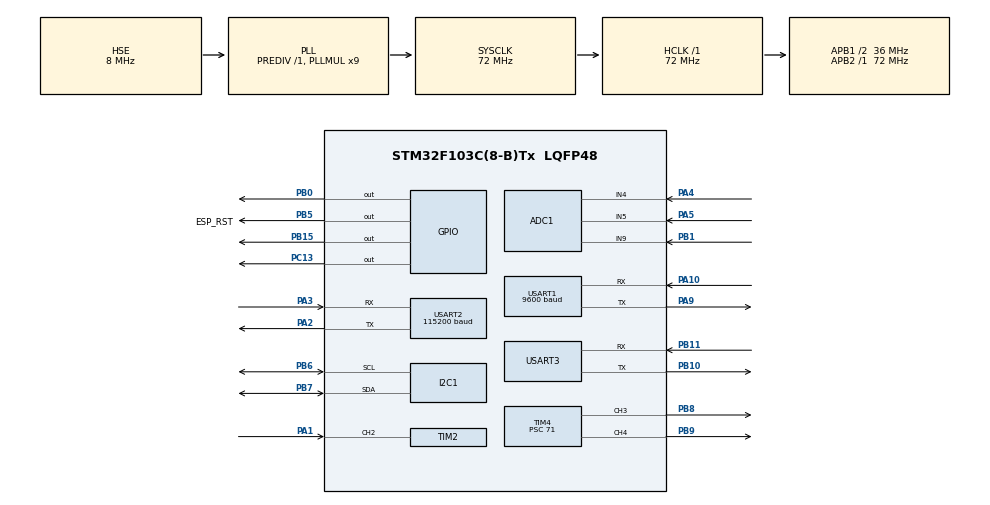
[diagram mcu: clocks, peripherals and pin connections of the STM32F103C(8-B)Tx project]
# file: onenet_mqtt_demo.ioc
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ADC1.Channel-0\#ChannelRegularConversion=ADC_CHANNEL_4
ADC1.Channel-1\#ChannelRegularConversion=ADC_CHANNEL_5
ADC1.Channel-2\#ChannelRegularConversion=ADC_CHANNEL_9
ADC1.ContinuousConvMode=ENABLE
ADC1.NbrOfConversion=3
ADC1.NbrOfConversionFlag=1
ADC1.Rank-0\#ChannelRegularConversion=1
ADC1.Rank-1\#ChannelRegularConversion=2
ADC1.Rank-2\#ChannelRegularConversion=3
ADC1.SamplingTime-0\#ChannelRegularConversion=ADC_SAMPLETIME_1CYCLE_5
ADC1.SamplingTime-1\#ChannelRegularConversion=ADC_SAMPLETIME_1CYCLE_5
ADC1.SamplingTime-2\#ChannelRegularConversion=ADC_SAMPLETIME_1CYCLE_5
ADC1.master=1
Dma.ADC1.0.Direction=DMA_PERIPH_TO_MEMORY
Dma.ADC1.0.Instance=DMA1_Channel1
Dma.ADC1.0.MemDataAlignment=DMA_MDATAALIGN_WORD
Dma.ADC1.0.MemInc=DMA_MINC_ENABLE
Dma.ADC1.0.Mode=DMA_CIRCULAR
Dma.ADC1.0.PeriphDataAlignment=DMA_PDATAALIGN_WORD
Dma.ADC1.0.PeriphInc=DMA_PINC_DISABLE
Dma.ADC1.0.Priority=DMA_PRIORITY_MEDIUM
Dma.Request0=ADC1
Dma.Request1=USART1_RX
Dma.Request2=USART3_RX
Dma.USART1_RX.1.Direction=DMA_PERIPH_TO_MEMORY
Dma.USART1_RX.1.Instance=DMA1_Channel5
Dma.USART1_RX.1.MemDataAlignment=DMA_MDATAALIGN_BYTE
Dma.USART1_RX.1.MemInc=DMA_MINC_ENABLE
Dma.USART1_RX.1.Mode=DMA_NORMAL
Dma.USART1_RX.1.PeriphDataAlignment=DMA_PDATAALIGN_BYTE
Dma.USART1_RX.1.PeriphInc=DMA_PINC_DISABLE
Dma.USART1_RX.1.Priority=DMA_PRIORITY_LOW
Dma.USART3_RX.2.Direction=DMA_PERIPH_TO_MEMORY
Dma.USART3_RX.2.Instance=DMA1_Channel3
Dma.USART3_RX.2.MemDataAlignment=DMA_MDATAALIGN_BYTE
Dma.USART3_RX.2.MemInc=DMA_MINC_ENABLE
Dma.USART3_RX.2.Mode=DMA_NORMAL
Dma.USART3_RX.2.PeriphDataAlignment=DMA_PDATAALIGN_BYTE
Dma.USART3_RX.2.PeriphInc=DMA_PINC_DISABLE
Dma.USART3_RX.2.Priority=DMA_PRIORITY_LOW
Mcu.Family=STM32F1
Mcu.Name=STM32F103C(8-B)Tx
Mcu.Package=LQFP48
NVIC.DMA1_Channel1_IRQn=true\:0\:0\:false\:false\:true\:false\:true\:true
NVIC.DMA1_Channel3_IRQn=true\:0\:0\:false\:false\:true\:false\:true\:true
NVIC.DMA1_Channel5_IRQn=true\:0\:0\:false\:false\:true\:false\:true\:true
NVIC.PriorityGroup=NVIC_PRIORITYGROUP_4
NVIC.TIM1_UP_IRQn=true\:0\:0\:false\:false\:true\:true\:true\:true
NVIC.TIM2_IRQn=true\:0\:0\:false\:false\:true\:true\:true\:true
NVIC.USART1_IRQn=true\:3\:0\:true\:false\:true\:true\:true\:true
NVIC.USART2_IRQn=true\:3\:0\:true\:false\:true\:true\:true\:true
NVIC.USART3_IRQn=true\:3\:0\:true\:false\:true\:true\:true\:true
PA1.Signal=S_TIM2_CH2
PA10.Mode=Asynchronous
PA10.Signal=USART1_RX
PA13.Mode=Serial_Wire
PA13.Signal=SYS_JTMS-SWDIO
PA14.Mode=Serial_Wire
PA14.Signal=SYS_JTCK-SWCLK
PA2.Mode=Asynchronous
PA2.Signal=USART2_TX
PA3.Mode=Asynchronous
PA3.Signal=USART2_RX
PA4.Signal=ADCx_IN4
PA5.Signal=ADCx_IN5
PA9.Mode=Asynchronous
PA9.Signal=USART1_TX
PB0.Signal=GPIO_Output
PB1.Signal=ADCx_IN9
PB10.Mode=Asynchronous
PB10.Signal=USART3_TX
PB11.Mode=Asynchronous
PB11.Signal=USART3_RX
PB15.Signal=GPIO_Output
PB5.GPIO_Label=ESP_RST
PB5.GPIO_PuPd=GPIO_NOPULL
PB5.GPIO_Speed=GPIO_SPEED_FREQ_LOW
PB5.Signal=GPIO_Output
PB6.GPIO_Pu=GPIO_PULLUP
PB6.Mode=I2C
PB6.Signal=I2C1_SCL
PB7.GPIO_Pu=GPIO_PULLUP
PB7.Mode=I2C
PB7.Signal=I2C1_SDA
PB8.Signal=S_TIM4_CH3
PB9.Signal=S_TIM4_CH4
PC13-TAMPER-RTC.Signal=GPIO_Output
PD0-OSC_IN.Mode=HSE-External-Oscillator
PD0-OSC_IN.Signal=RCC_OSC_IN
PD1-OSC_OUT.Mode=HSE-External-Oscillator
PD1-OSC_OUT.Signal=RCC_OSC_OUT
ProjectManager.HeapSize=0x200
ProjectManager.StackSize=0x400
ProjectManager.TargetToolchain=MDK-ARM V5.27
RCC.ADCPresc=RCC_ADCPCLK2_DIV6
RCC.AHBFreq_Value=72000000
RCC.APB1CLKDivider=RCC_HCLK_DIV2
RCC.APB1Freq_Value=36000000
RCC.APB1TimFreq_Value=72000000
RCC.APB2Freq_Value=72000000
RCC.APB2TimFreq_Value=72000000
RCC.EnbaleCSS=true
RCC.HCLKFreq_Value=72000000
RCC.PLLMUL=RCC_PLL_MUL9
RCC.PLLSourceVirtual=RCC_PLLSOURCE_HSE
RCC.SYSCLKFreq_VALUE=72000000
RCC.SYSCLKSource=RCC_SYSCLKSOURCE_PLLCLK
RCC.USBFreq_Value=72000000
SH.ADCx_IN4.0=ADC1_IN4,IN4
SH.ADCx_IN5.0=ADC1_IN5,IN5
SH.ADCx_IN9.0=ADC1_IN9,IN9
SH.S_TIM2_CH2.0=TIM2_CH2,Input_Capture2_from_TI2
SH.S_TIM4_CH3.0=TIM4_CH3,PWM Generation3 CH3
SH.S_TIM4_CH4.0=TIM4_CH4,PWM Generation4 CH4
TIM1.AutoReloadPreload=TIM_AUTORELOAD_PRELOAD_ENABLE
TIM1.CounterMode=TIM_COUNTERMODE_UP
TIM1.Period=1000-1
TIM1.Prescaler=72-1
TIM2.Channel-Input_Capture2_from_TI2=TIM_CHANNEL_2
TIM2.Period=65535
TIM2.Prescaler=71
TIM4.Channel-PWM\ Generation3\ CH3=TIM_CHANNEL_3
TIM4.Channel-PWM\ Generation4\ CH4=TIM_CHANNEL_4
TIM4.Period=1000-1
TIM4.Prescaler=71
TIM4.Pulse-PWM\ Generation3\ CH3=500
USART1.BaudRate=9600
USART1.VirtualMode=VM_ASYNC
USART2.BaudRate=115200
USART2.VirtualMode=VM_ASYNC
USART3.VirtualMode=VM_ASYNC
VP_TIM1_VS_ClockSourceINT.Mode=Internal
board=custom

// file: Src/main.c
/* USER CODE BEGIN Header */
/**
  ******************************************************************************
  * @file           : main.c
  * @brief          : Main program body
  ******************************************************************************
  * @attention
  *
  * <h2><center>&copy; Copyright (c) 2020 STMicroelectronics.
  * All rights reserved.</center></h2>
  *
  * This software component is licensed by ST under BSD 3-Clause license,
  * the "License"; You may not use this file except in compliance with the
  * License. You may obtain a copy of the License at:
  *                        opensource.org/licenses/BSD-3-Clause
  *
  ******************************************************************************
  */
/* USER CODE END Header */
#include "main.h"
#include "adc.h"
#include "dma.h"
#include "i2c.h"
#include "tim.h"
#include "usart.h"
#include "gpio.h"

/* USER CODE BEGIN PTD */
unsigned short timeCount = 0;	       //发送间隔变量
unsigned char *dataPtr = NULL;       //onenet需要用到
extern uint8_t aRxBuffer;            //串口数据缓冲区

uint32_t adc_value[30];              //adc数据缓冲区
uint32_t value1=0,value2=0,value3=0; //DMA数据处理的三个中间变量，分别提取光照，音量，烟雾的数据
uint32_t Lighting=0,Voice=0,Gas=0;   //光照，音量，烟雾的数据
uint16_t high_time=0;                //记录超声波ECHO引脚高电平时间
uint8_t temperature=0;               //温度
uint8_t humidity=0;                  //湿度
uint8_t LED_value=1;                   //LED灯的值，0或1
uint8_t fan;                         //风扇开关
uint8_t i=0;                         //for循环用到的变量而已

float Distance;                      //超声波测得距离
char buf1[40];
char buf2[40];
char buf3[40];
char buf4[40];
char buf5[40];
char buf6[40];
/* USER CODE END PTD */

/* USER CODE BEGIN PM */

void HAL_TIM_IC_CaptureCallback(TIM_HandleTypeDef *htim)//定时器输入捕获中断服务函数入口
{
	HC_SR04_value(htim);//捕获超声波的高电平时间
}
/* USER CODE END PM */

void SystemClock_Config(void);

int main(void)
{

  /* MCU Configuration--------------------------------------------------------*/

  /* Reset of all peripherals, Initializes the Flash interface and the Systick. */
  HAL_Init();

  /* Configure the system clock */
  SystemClock_Config();

  /* Initialize all configured peripherals */
  MX_GPIO_Init();
  MX_DMA_Init();
  MX_USART1_UART_Init();
  MX_USART2_UART_Init();
  MX_ADC1_Init();
  MX_I2C1_Init();
  MX_TIM1_Init();
  MX_TIM2_Init();
  MX_TIM4_Init();
  MX_USART3_UART_Init();

  /* Infinite loop */
  /* USER CODE BEGIN WHILE */
//==================================片内外设初始化====================================================
	HAL_ADC_Start_DMA(&hadc1, (uint32_t *)adc_value, 30); //初始化ADC，用于采集音量，光照，烟雾浓度
//  OLED_Init();//初始化oled屏幕
//	DHT11_Init();//初始化温湿度模块

//===================================网络协议初始化===================================================
  ESP8266_Init();					    //初始化ESP8266
  while(OneNet_DevLink())			//接入OneNET
  HAL_Delay(500);

	show();                     //OLED显示主界面

  while (1)
  {
//=================================超声波测距==========================================================
		Read_diatance();
		Distance=17.6*high_time/1000;//根据高电平时间算出距离
		sprintf(buf6,"%.1fCM",Distance);
		OLED_ShowString(64,6,(uint8_t *)buf6,16);//显示距离

//===============================温湿度传感器==========================================================
    if(DHT11_Read_Data(&temperature,&humidity) == 0)
		{
			sprintf((char *)buf1,":%d",temperature);
			sprintf((char *)buf2,":%d%%",humidity);
			OLED_ShowString(32,0,(uint8_t *)buf1,16);
			OLED_ShowString(96,0,(uint8_t *)buf2,16);
		}
//=====================（光照，声音，有害气体）三个传感器，通过ADC规则通道查询获取======================

    for(i=0,value1=0,value2=0,value3=0;i<30;)
		{
			value1+=adc_value[i++];
			value2+=adc_value[i++];
			value3+=adc_value[i++];
		}
		Lighting=(4096-value1/10)*100/4096; //亮度
		Voice=(4096-value2/10)*100/4096;    //声音
		Gas=(value3/10)*100/4096;           //烟雾
		value1=value2=value3=0;

		sprintf((char *)buf3,":%d%%",Lighting);
		sprintf((char *)buf4,":%d ",Voice);
		sprintf((char *)buf5,":%d%%",Gas);
		OLED_ShowString(32,2,(uint8_t *)buf3,16);//OLED显示亮度
		OLED_ShowString(96,2,(uint8_t *)buf4,16);//OLED显示声音
		OLED_ShowString(64,4,(uint8_t *)buf5,16);//OLED显示烟雾浓度

//=============================================上传数据到OneNet服务器（可以不用管）=================================
     if(++timeCount >= 500)									//发送间隔5s
		{
			printf("OneNet_SendData\r\n");
			OneNet_SendData();									//发送数据
			timeCount = 0;
			ESP8266_Clear();                    //清空缓存
		}
//==============================================接受OneNet服务器发来的数据（可以不用管）===============================
		dataPtr = ESP8266_GetIPD(0);
		if(dataPtr != NULL)
		OneNet_RevPro(dataPtr);
		HAL_Delay(10);

    /* USER CODE END WHILE */

  }
}

void SystemClock_Config(void)
{
  RCC_OscInitTypeDef RCC_OscInitStruct = {0};
  RCC_ClkInitTypeDef RCC_ClkInitStruct = {0};
  RCC_PeriphCLKInitTypeDef PeriphClkInit = {0};

  /** Initializes the RCC Oscillators according to the specified parameters
  * in the RCC_OscInitTypeDef structure.
  */
  RCC_OscInitStruct.OscillatorType = RCC_OSCILLATORTYPE_HSE;
  RCC_OscInitStruct.HSEState = RCC_HSE_ON;
  RCC_OscInitStruct.HSEPredivValue = RCC_HSE_PREDIV_DIV1;
  RCC_OscInitStruct.HSIState = RCC_HSI_ON;
  RCC_OscInitStruct.PLL.PLLState = RCC_PLL_ON;
  RCC_OscInitStruct.PLL.PLLSource = RCC_PLLSOURCE_HSE;
  RCC_OscInitStruct.PLL.PLLMUL = RCC_PLL_MUL9;
  if (HAL_RCC_OscConfig(&RCC_OscInitStruct) != HAL_OK)
  {
    Error_Handler();
  }
  /** Initializes the CPU, AHB and APB buses clocks
  */
  RCC_ClkInitStruct.ClockType = RCC_CLOCKTYPE_HCLK|RCC_CLOCKTYPE_SYSCLK
                              |RCC_CLOCKTYPE_PCLK1|RCC_CLOCKTYPE_PCLK2;
  RCC_ClkInitStruct.SYSCLKSource = RCC_SYSCLKSOURCE_PLLCLK;
  RCC_ClkInitStruct.AHBCLKDivider = RCC_SYSCLK_DIV1;
  RCC_ClkInitStruct.APB1CLKDivider = RCC_HCLK_DIV2;
  RCC_ClkInitStruct.APB2CLKDivider = RCC_HCLK_DIV1;

  if (HAL_RCC_ClockConfig(&RCC_ClkInitStruct, FLASH_LATENCY_2) != HAL_OK)
  {
    Error_Handler();
  }
  PeriphClkInit.PeriphClockSelection = RCC_PERIPHCLK_ADC;
  PeriphClkInit.AdcClockSelection = RCC_ADCPCLK2_DIV6;
  if (HAL_RCCEx_PeriphCLKConfig(&PeriphClkInit) != HAL_OK)
  {
    Error_Handler();
  }
  /** Enables the Clock Security System
  */
  HAL_RCC_EnableCSS();
}

void Error_Handler(void)
{
}

/************************ (C) COPYRIGHT STMicroelectronics *****END OF FILE****/
